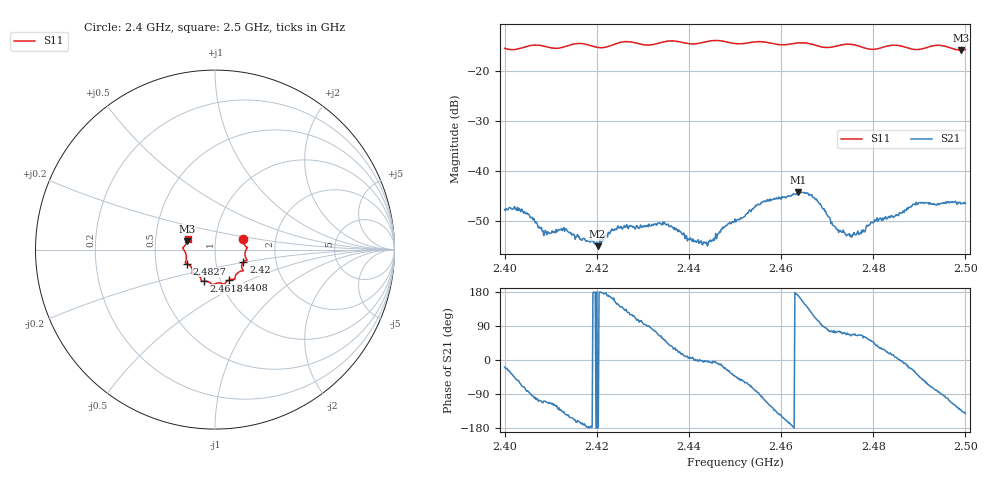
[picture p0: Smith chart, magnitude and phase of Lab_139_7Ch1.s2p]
# Hz S RI R 50
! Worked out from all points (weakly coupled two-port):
!   601 points, 2.4 GHz to 2.5 GHz, reference 50 ohm
!   highest |S21| = -44.28 dB at 2.4637 GHz (marker M1); lowest = -55.1 dB at 2.4202 GHz (marker M2)
!   lowest |S11| = -15.8 dB at 2.499 GHz (marker M3), VSWR 1.38, Z = 36.5 + j3.53 ohm
!   |S11| at or under -10 dB: start of sweep to end of sweep
!   S12 and S22 are empty: the file has one direction only
!   S11 on the Smith chart (normalised r, x): 2.4 GHz: 1.36, +0.17; 2.42 GHz: 1.36, -0.19; 2.4408 GHz: 1.10, -0.38; 2.4618 GHz: 0.84, -0.30; 2.4827 GHz: 0.72, -0.12; 2.5 GHz: 0.73, +0.09
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2.4e9  0.1563 0.0617  0.00388 -0.0013  0 0  0 0
2.404833e9  0.1753 0.0149  0.000503 -0.00376  0 0  0 0
2.408667e9  0.1764 0.00487  -0.000743 -0.00224  0 0  0 0
2.412833e9  0.1691 -0.0395  -0.00194 -0.00189  0 0  0 0
2.416667e9  0.1781 -0.0594  -0.00198 -0.000384  0 0  0 0
2.42e9  0.1579 -0.0693  -0.00192 9.38e-06  0 0  0 0
2.420167e9  0.1567 -0.0704  -0.00176 -4.81e-06  0 0  0 0
2.424833e9  0.1546 -0.113  -0.00217 0.00156  0 0  0 0
2.433333e9  0.1119 -0.1521  0.00119 0.00276  0 0  0 0
2.440833e9  0.0789 -0.1688  0.00206 0.000251  0 0  0 0
2.4445e9  0.0545 -0.1917  0.00195 -0.000177  0 0  0 0
2.45e9  0.0278 -0.1858  0.00241 -0.00225  0 0  0 0
2.461833e9  -0.0602 -0.175  -0.00544 -0.00137  0 0  0 0
2.463667e9  -0.0723 -0.1765  -0.00604 0.000957  0 0  0 0
2.466667e9  -0.077 -0.1683  -0.0032 0.00479  0 0  0 0
2.471667e9  -0.1113 -0.1357  0.00087 0.00262  0 0  0 0
2.4745e9  -0.1268 -0.1353  0.00084 0.00215  0 0  0 0
2.482667e9  -0.1573 -0.0778  0.00317 0.00143  0 0  0 0
2.483333e9  -0.1613 -0.0763  0.00332 0.00106  0 0  0 0
2.489833e9  -0.162 -0.0249  0.00359 -0.00315  0 0  0 0
2.499e9  -0.1544 0.0471  -0.00303 -0.00352  0 0  0 0
2.5e9  -0.1519 0.0617  -0.00369 -0.00293  0 0  0 0
